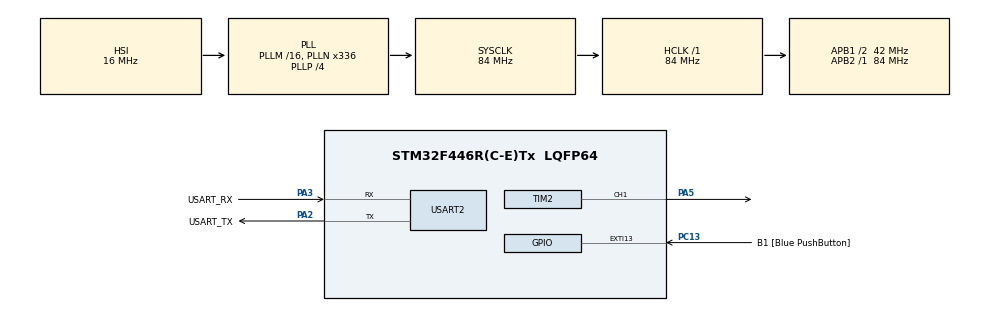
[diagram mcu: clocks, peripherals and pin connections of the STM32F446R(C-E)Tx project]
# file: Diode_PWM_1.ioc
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Mcu.Family=STM32F4
Mcu.Name=STM32F446R(C-E)Tx
Mcu.Package=LQFP64
NVIC.EXTI15_10_IRQn=true\:0\:0\:false\:false\:true\:true\:true
NVIC.PriorityGroup=NVIC_PRIORITYGROUP_0
PA13.GPIO_Label=TMS
PA13.Mode=Serial_Wire
PA13.Signal=SYS_JTMS-SWDIO
PA14.GPIO_Label=TCK
PA14.Mode=Serial_Wire
PA14.Signal=SYS_JTCK-SWCLK
PA2.GPIO_Label=USART_TX
PA2.Mode=Asynchronous
PA2.Signal=USART2_TX
PA3.GPIO_Label=USART_RX
PA3.Mode=Asynchronous
PA3.Signal=USART2_RX
PA5.Signal=S_TIM2_CH1_ETR
PB3.GPIO_Label=SWO
PB3.Signal=SYS_JTDO-SWO
PC13.GPIO_Label=B1 [Blue PushButton]
PC13.GPIO_ModeDefaultEXTI=GPIO_MODE_IT_RISING
PC13.Signal=GPXTI13
PC14-OSC32_IN.Mode=LSE-External-Oscillator
PC14-OSC32_IN.Signal=RCC_OSC32_IN
PC15-OSC32_OUT.Mode=LSE-External-Oscillator
PC15-OSC32_OUT.Signal=RCC_OSC32_OUT
PH0-OSC_IN.Mode=HSE-External-Oscillator
PH0-OSC_IN.Signal=RCC_OSC_IN
PH1-OSC_OUT.Mode=HSE-External-Oscillator
PH1-OSC_OUT.Signal=RCC_OSC_OUT
ProjectManager.HeapSize=0x200
ProjectManager.StackSize=0x400
ProjectManager.TargetToolchain=STM32CubeIDE
RCC.48MHZClocksFreq_Value=84000000
RCC.AHBFreq_Value=84000000
RCC.APB1CLKDivider=RCC_HCLK_DIV2
RCC.APB1Freq_Value=42000000
RCC.APB1TimFreq_Value=84000000
RCC.APB2Freq_Value=84000000
RCC.APB2TimFreq_Value=84000000
RCC.CortexFreq_Value=84000000
RCC.FLatency-AdvancedSettings=FLASH_LATENCY_2
RCC.HCLKFreq_Value=84000000
RCC.HSE_VALUE=8000000
RCC.HSI_VALUE=16000000
RCC.PLLN=336
RCC.PLLP=RCC_PLLP_DIV4
RCC.SYSCLKFreq_VALUE=84000000
RCC.SYSCLKSource=RCC_SYSCLKSOURCE_PLLCLK
RCC.USBFreq_Value=168000000
RCC.VCOOutputFreq_Value=336000000
SH.S_TIM2_CH1_ETR.0=TIM2_CH1,PWM Generation1 CH1
TIM2.Channel-PWM\ Generation1\ CH1=TIM_CHANNEL_1
TIM2.Period=999
TIM2.Prescaler=83
USART2.VirtualMode=VM_ASYNC
board=NUCLEO-F446RE

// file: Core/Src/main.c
/* USER CODE BEGIN Header */
/**
  ******************************************************************************
  * @file           : main.c
  * @brief          : Main program body
  ******************************************************************************
  * @attention
  *
  * <h2><center>&copy; Copyright (c) 2021 STMicroelectronics.
  * All rights reserved.</center></h2>
  *
  * This software component is licensed by ST under BSD 3-Clause license,
  * the "License"; You may not use this file except in compliance with the
  * License. You may obtain a copy of the License at:
  *                        opensource.org/licenses/BSD-3-Clause
  *
  ******************************************************************************
  */
/* USER CODE END Header */
#include "main.h"

TIM_HandleTypeDef htim2;

UART_HandleTypeDef huart2;

void SystemClock_Config(void);
static void MX_GPIO_Init(void);
static void MX_USART2_UART_Init(void);
static void MX_TIM2_Init(void);
/* USER CODE BEGIN PFP */
	uint16_t i;
	uint8_t PC13_flag = 0;
/* USER CODE END PFP */

int main(void)
{

  /* MCU Configuration--------------------------------------------------------*/

  /* Reset of all peripherals, Initializes the Flash interface and the Systick. */
  HAL_Init();

  /* Configure the system clock */
  SystemClock_Config();

  /* Initialize all configured peripherals */
  MX_GPIO_Init();
  MX_USART2_UART_Init();
  MX_TIM2_Init();
  /* USER CODE BEGIN 2 */
  HAL_TIM_PWM_Start(&htim2, TIM_CHANNEL_1);
  /* USER CODE END 2 */

  /* Infinite loop */
  /* USER CODE BEGIN WHILE */
  while (1)
  {
	  for (i = 0; i<1000; i+= 10)
	  	  {
	      __HAL_TIM_SET_COMPARE(&htim2, TIM_CHANNEL_1, i);
	        HAL_Delay(5);
	      }

	  for (i = 1000; i>0; i-=10)
	  	  {
	      __HAL_TIM_SET_COMPARE(&htim2, TIM_CHANNEL_1, i);
	      HAL_Delay(5);
	      }
	  //HAL_Delay(5);
    /* USER CODE END WHILE */

  }
}

void SystemClock_Config(void)
{
  RCC_OscInitTypeDef RCC_OscInitStruct = {0};
  RCC_ClkInitTypeDef RCC_ClkInitStruct = {0};

  /** Configure the main internal regulator output voltage
  */
  __HAL_RCC_PWR_CLK_ENABLE();
  __HAL_PWR_VOLTAGESCALING_CONFIG(PWR_REGULATOR_VOLTAGE_SCALE3);
  /** Initializes the RCC Oscillators according to the specified parameters
  * in the RCC_OscInitTypeDef structure.
  */
  RCC_OscInitStruct.OscillatorType = RCC_OSCILLATORTYPE_HSI;
  RCC_OscInitStruct.HSIState = RCC_HSI_ON;
  RCC_OscInitStruct.HSICalibrationValue = RCC_HSICALIBRATION_DEFAULT;
  RCC_OscInitStruct.PLL.PLLState = RCC_PLL_ON;
  RCC_OscInitStruct.PLL.PLLSource = RCC_PLLSOURCE_HSI;
  RCC_OscInitStruct.PLL.PLLM = 16;
  RCC_OscInitStruct.PLL.PLLN = 336;
  RCC_OscInitStruct.PLL.PLLP = RCC_PLLP_DIV4;
  RCC_OscInitStruct.PLL.PLLQ = 2;
  RCC_OscInitStruct.PLL.PLLR = 2;
  if (HAL_RCC_OscConfig(&RCC_OscInitStruct) != HAL_OK)
  {
    Error_Handler();
  }
  /** Initializes the CPU, AHB and APB buses clocks
  */
  RCC_ClkInitStruct.ClockType = RCC_CLOCKTYPE_HCLK|RCC_CLOCKTYPE_SYSCLK
                              |RCC_CLOCKTYPE_PCLK1|RCC_CLOCKTYPE_PCLK2;
  RCC_ClkInitStruct.SYSCLKSource = RCC_SYSCLKSOURCE_PLLCLK;
  RCC_ClkInitStruct.AHBCLKDivider = RCC_SYSCLK_DIV1;
  RCC_ClkInitStruct.APB1CLKDivider = RCC_HCLK_DIV2;
  RCC_ClkInitStruct.APB2CLKDivider = RCC_HCLK_DIV1;

  if (HAL_RCC_ClockConfig(&RCC_ClkInitStruct, FLASH_LATENCY_2) != HAL_OK)
  {
    Error_Handler();
  }
}

static void MX_TIM2_Init(void)
{

  TIM_MasterConfigTypeDef sMasterConfig = {0};
  TIM_OC_InitTypeDef sConfigOC = {0};

  htim2.Instance = TIM2;
  htim2.Init.Prescaler = 83;
  htim2.Init.CounterMode = TIM_COUNTERMODE_UP;
  htim2.Init.Period = 999;
  htim2.Init.ClockDivision = TIM_CLOCKDIVISION_DIV1;
  htim2.Init.AutoReloadPreload = TIM_AUTORELOAD_PRELOAD_DISABLE;
  if (HAL_TIM_PWM_Init(&htim2) != HAL_OK)
  {
    Error_Handler();
  }
  sMasterConfig.MasterOutputTrigger = TIM_TRGO_RESET;
  sMasterConfig.MasterSlaveMode = TIM_MASTERSLAVEMODE_DISABLE;
  if (HAL_TIMEx_MasterConfigSynchronization(&htim2, &sMasterConfig) != HAL_OK)
  {
    Error_Handler();
  }
  sConfigOC.OCMode = TIM_OCMODE_PWM1;
  sConfigOC.Pulse = 0;
  sConfigOC.OCPolarity = TIM_OCPOLARITY_HIGH;
  sConfigOC.OCFastMode = TIM_OCFAST_DISABLE;
  if (HAL_TIM_PWM_ConfigChannel(&htim2, &sConfigOC, TIM_CHANNEL_1) != HAL_OK)
  {
    Error_Handler();
  }
  HAL_TIM_MspPostInit(&htim2);

}

static void MX_USART2_UART_Init(void)
{

  huart2.Instance = USART2;
  huart2.Init.BaudRate = 115200;
  huart2.Init.WordLength = UART_WORDLENGTH_8B;
  huart2.Init.StopBits = UART_STOPBITS_1;
  huart2.Init.Parity = UART_PARITY_NONE;
  huart2.Init.Mode = UART_MODE_TX_RX;
  huart2.Init.HwFlowCtl = UART_HWCONTROL_NONE;
  huart2.Init.OverSampling = UART_OVERSAMPLING_16;
  if (HAL_UART_Init(&huart2) != HAL_OK)
  {
    Error_Handler();
  }

}

static void MX_GPIO_Init(void)
{
  GPIO_InitTypeDef GPIO_InitStruct = {0};

  /* GPIO Ports Clock Enable */
  __HAL_RCC_GPIOC_CLK_ENABLE();
  __HAL_RCC_GPIOH_CLK_ENABLE();
  __HAL_RCC_GPIOA_CLK_ENABLE();
  __HAL_RCC_GPIOB_CLK_ENABLE();

  /*Configure GPIO pin : B1_Pin */
  GPIO_InitStruct.Pin = B1_Pin;
  GPIO_InitStruct.Mode = GPIO_MODE_IT_RISING;
  GPIO_InitStruct.Pull = GPIO_NOPULL;
  HAL_GPIO_Init(B1_GPIO_Port, &GPIO_InitStruct);

  /* EXTI interrupt init*/
  HAL_NVIC_SetPriority(EXTI15_10_IRQn, 0, 0);
  HAL_NVIC_EnableIRQ(EXTI15_10_IRQn);

}

/* USER CODE BEGIN 4 */
	void HAL_GPIO_EXTI_Rising_Callback(uint16_t GPIO_Pin)
	{
		PC13_flag++;
		if((PC13_flag & 0x01) == 0x01)
		{
			HAL_GPIO_WritePin(GPIOA, GPIO_PIN_5, GPIO_PIN_SET);
		}
		else
		{
			__NOP();
		}
	}
/* USER CODE END 4 */

void Error_Handler(void)
{
  __disable_irq();
  while (1)
  {
  }
}

/************************ (C) COPYRIGHT STMicroelectronics *****END OF FILE****/
